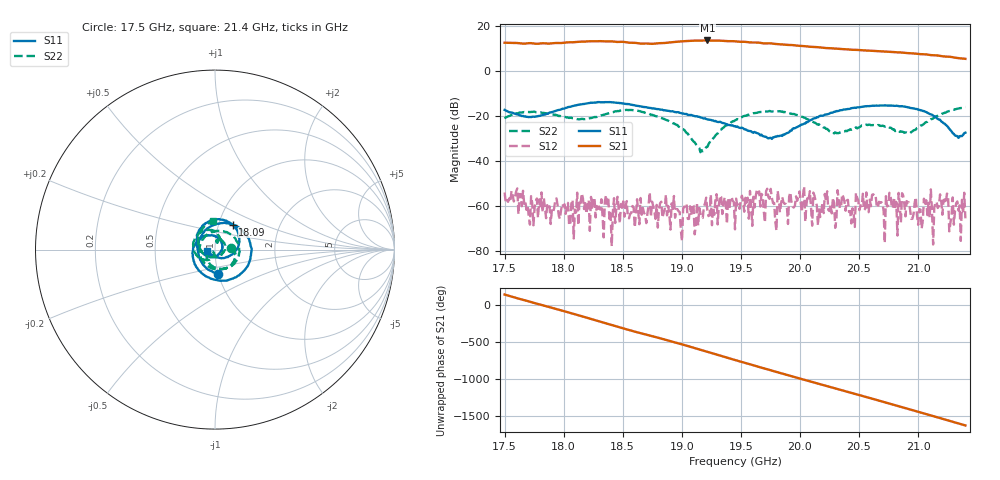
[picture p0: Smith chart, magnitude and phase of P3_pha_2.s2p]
!Created with skrf (http://scikit-rf.org).
# GHz S RI R 50.0
!freq ReS11 ImS11 ReS21 ImS21 ReS12 ImS12 ReS22 ImS22
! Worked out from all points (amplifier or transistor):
!   401 points, 17.5 GHz to 21.4 GHz, reference 50 ohm
!   highest |S21| = 13.5 dB at 19.22 GHz (marker M1)
!   |S21| within 3 dB of that: start of sweep to 20.15 GHz
!   unconditionally stable (mu >= 1): start of sweep to end of sweep
!   at 18.14 GHz: K = 91.12, MAG = 13.1 dB, |S12| = -58.5 dB
!   at 19.45 GHz: K = 352.37, MAG = 13.2 dB, |S12| = -70.2 dB
!   at 21.4 GHz: K = 484.54, MAG = 5.5 dB, |S12| = -65.3 dB
!   S11 on the Smith chart (normalised r, x): 17.5 GHz: 0.99, -0.28; 18.09 GHz: 1.17, +0.34; 21.4 GHz: 0.92, -0.01
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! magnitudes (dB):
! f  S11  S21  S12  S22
! 17.5 GHz  -17.3  12.5  -53.9  -21.1
! 17.72 GHz  -20.5  12.3  -55.5  -18.2
! 18.09 GHz  -15.3  12.8  -61.4  -21.2
! 18.15 GHz  -14.8  13.0  -54.2  -21.2
! 18.37 GHz  -13.8  13.1  -59.0  -18.9
! 18.42 GHz  -13.9  13.1  -62.3  -18.3
! 18.81 GHz  -16.9  12.3  -61.2  -20.5
! 18.98 GHz  -18.6  13.1  -62.6  -24.9
! 19.22 GHz  -21.4  13.5  -61.8  -33.7
! 19.45 GHz  -24.4  13.2  -70.2  -21.9
! 19.75 GHz  -29.6  12.3  -52.3  -17.9
! 19.78 GHz  -29.4  12.1  -58.5  -18.0
! 20.1 GHz  -21.5  10.7  -68.6  -22.5
! 20.16 GHz  -20.1  10.5  -61.4  -23.7
! 20.38 GHz  -17.1  9.7  -58.0  -26.9
! 20.44 GHz  -16.4  9.4  -60.9  -25.8
! 20.49 GHz  -16.1  9.3  -57.4  -25.2
! 20.76 GHz  -15.3  8.5  -54.0  -25.1
! 21.02 GHz  -17.4  7.5  -61.5  -24.2
! 21.23 GHz  -23.9  6.4  -58.7  -18.4
! 21.28 GHz  -26.8  6.2  -63.6  -17.4
! 21.4 GHz  -27.4  5.4  -65.3  -15.9
